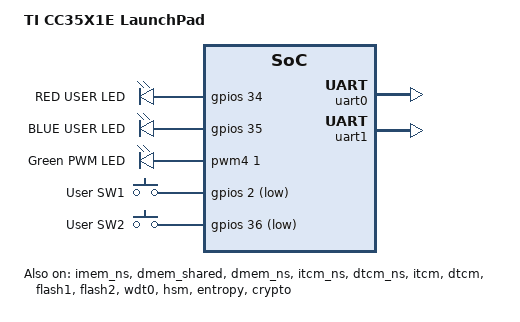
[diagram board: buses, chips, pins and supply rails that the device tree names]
/*
 * Copyright (c) 2025 Conclusive Engineering Sp. z o.o.
 *
 * SPDX-License-Identifier: Apache-2.0
 */

/dts-v1/;

#include <ti/cc35xxe.dtsi>
#include <zephyr/dt-bindings/adc/adc.h>
#include <zephyr/dt-bindings/gpio/gpio.h>
#include <zephyr/dt-bindings/dma/ti-cc35xx-dma.h>
#include <zephyr/dt-bindings/input/input-event-codes.h>
#include <zephyr/dt-bindings/i2s/ti-cc35xx-i2s.h>
#include "boosterpack_connector.dtsi"
#include "lp_em_cc35x1-pinctrl.dtsi"
#include <zephyr/dt-bindings/pwm/pwm.h>

/ {
	model = "TI CC35X1E LaunchPad";
	compatible = "ti,launchpad-cc35x1e";

	chosen {
		zephyr,sram = &dmem_ns;
		zephyr,flash = &extflash;
		zephyr,itcm = &itcm_ns;
		zephyr,dtcm = &dtcm_ns;
		zephyr,code-partition = &dmem_ns;
		zephyr,console = &uart1;
		zephyr,shell-uart = &uart1;
		zephyr,rtc = &rtc;
		zephyr,entropy = &entropy;
	};

	leds {
		compatible = "gpio-leds";

		red_led: red_led {
			gpios = <&gpios 34 GPIO_ACTIVE_HIGH>;
			label = "RED USER LED";
		};

		blue_led: blue_led {
			gpios = <&gpios 35 GPIO_ACTIVE_HIGH>;
			label = "BLUE USER LED";
		};
	};

	pwmleds {
		compatible = "pwm-leds";

		green_pwm: pwm_led_0 {
			pwms = <&pwm4 1 1000 PWM_POLARITY_NORMAL>;
			label = "Green PWM LED";
		};
	};

	buttons {
		compatible = "gpio-keys";

		user_switch_1: user_sw_1 {
			gpios = <&gpios 2 GPIO_ACTIVE_LOW>;
			label = "User SW1";
			zephyr,code = <INPUT_KEY_0>;
		};

		user_switch_2: user_sw_2 {
			gpios = <&gpios 36 GPIO_ACTIVE_LOW>;
			label = "User SW2";
			zephyr,code = <INPUT_KEY_1>;
		};
	};

	aliases {
		led0 = &red_led;
		led1 = &blue_led;
		pwm-led0 = &green_pwm;
		ambient-temp0 = &tmp1075_temperature;
		sw0 = &user_switch_1;
		sw1 = &user_switch_2;
		adc0 = &adc0;
		dma0 = &dma;
		rtc = &rtc;
		sdhc0 = &sdhc;
	};
};

&imem_ns {
	status = "okay";
};

&dmem_shared {
	status = "okay";
};

&dmem_ns {
	status = "okay";
};

&itcm_ns {
	status = "okay";
};

&dtcm_ns {
	status = "okay";
};

&itcm {
	status = "okay";
};

&dtcm {
	status = "okay";
};

&dma {
	status = "okay";
};

&spi0 {
	status = "disabled";
	pinctrl-0 = <&spi0_master>;
	pinctrl-names = "default";
	cs-gpios = <&gpios 26 GPIO_ACTIVE_LOW>;
	dmas = <&dma 4 CC35XX_DMA_SET_CONFIG(CC35xx_DMA_PERIPH_SPI_0)>,
	       <&dma 5 CC35XX_DMA_SET_CONFIG(CC35xx_DMA_PERIPH_SPI_0)>;
	dma-names = "tx", "rx";
};

&spi1 {
	status = "disabled";
	pinctrl-0 = <&spi1_slave>;
	pinctrl-names = "default";
	dmas = <&dma 8 CC35XX_DMA_SET_CONFIG(CC35xx_DMA_PERIPH_SPI_1)>,
	       <&dma 9 CC35XX_DMA_SET_CONFIG(CC35xx_DMA_PERIPH_SPI_1)>;
	dma-names = "tx", "rx";
};

&flash0 {
	status = "okay";

	partitions {
		compatible = "fixed-partitions";
		#address-cells = <1>;
		#size-cells = <1>;

		vendor_image_partition: partition@0 {
			label = "vendor-image";
			reg = <0x0 0x2fb000>;
		};
	};
};

&flash1 {
	status = "okay";

	partitions {
		compatible = "fixed-partitions";
		#address-cells = <1>;
		#size-cells = <1>;

		wifi_fw_slot1_partition: partition@68000 {
			label = "wifi-fw-1";
			reg = <0x68000 0x72000>;
		};

		wifi_fw_slot2_partition: partition@da000 {
			label = "wifi-fw-2";
			reg = <0xda000 0x2b000>;
		};
	};
};

&flash2 {
	status = "okay";

	partitions {
		compatible = "fixed-partitions";
		#address-cells = <1>;
		#size-cells = <1>;

		/* WiFi/BLE NVS: profiles, BLE security, connection policy */
		/* 8 sectors = 32 KB with wear-leveling */
		wifi_nvs_partition: partition@0 {
			label = "wifi-nvs";
			reg = <0x0 0x8000>;
		};

		storage_partition: partition@8000 {
			label = "storage";
			reg = <0x8000 0x23000>;
		};
	};
};

&i2c1 {
	status = "disabled";
	pinctrl-0 = <&i2c1_default>;
	pinctrl-names = "default";

	tmp1075_temperature: tmp1075@48 {
		compatible = "lm75";
		friendly-name = "texas_temperature_tmp1075";
		reg = <0x48>;
	};

	bma4xx_accelerometer: bma4xx@18 {
		compatible = "bosch,bma4xx";
		reg = <0x18>;
	};
};

&adc0 {
	status = "disabled";
	pinctrl-0 = <&adc0_default>;
	pinctrl-names = "default";
	dmas = <&dma 6 CC35XX_DMA_SET_CONFIG(CC35xx_DMA_PERIPH_ADC)>;
	vref-internal-mv = <1400>;

	channel@4 {
		reg = <0x4>;
		zephyr,gain = "ADC_GAIN_1";
		zephyr,reference = "ADC_REF_INTERNAL";
		zephyr,acquisition-time = <ADC_ACQ_TIME_DEFAULT>;
		zephyr,resolution = <12>;
	};

	channel@5 {
		reg = <0x5>;
		zephyr,gain = "ADC_GAIN_1";
		zephyr,reference = "ADC_REF_INTERNAL";
		zephyr,acquisition-time = <ADC_ACQ_TIME_DEFAULT>;
		zephyr,resolution = <12>;
	};
};

&uart0 {
	status = "okay";
	pinctrl-0 = <&uart0_default>;
	pinctrl-names = "default";
	dmas = <&dma 0 CC35XX_DMA_SET_CONFIG(CC35xx_DMA_PERIPH_UARTLIN_0)>,
	       <&dma 1 CC35XX_DMA_SET_CONFIG(CC35xx_DMA_PERIPH_UARTLIN_0)>;
	dma-names = "rx", "tx";
};

&uart1 {
	status = "okay";
	pinctrl-0 = <&uart1_default>;
	pinctrl-names = "default";
	dmas = <&dma 2 CC35XX_DMA_SET_CONFIG(CC35xx_DMA_PERIPH_UARTLIN_1)>,
	       <&dma 3 CC35XX_DMA_SET_CONFIG(CC35xx_DMA_PERIPH_UARTLIN_1)>;
	dma-names = "rx", "tx";
};

&timer1 {
	clk-prescale = <0x1>;
	status = "disabled";
};

&pwm4 {
	pinctrl-0 = <&pwm4_default>;
	pinctrl-names = "default";
	status = "disabled";
};

&wdt0 {
	status = "okay";
};

&hsm {
	status = "okay";
};

&entropy {
	status = "okay";
};

&crypto {
	status = "okay";
};

&i2s0 {
	status = "disabled";
	pinctrl-0 = <&i2s_default>;
	pinctrl-names = "default";
	clock-source = <TI_CC35XX_I2S_CLK_SRC_SOC_PLL_CLK>;
	pin-dir-sd0 = <TI_CC35XX_I2S_PIN_DIR_OUTPUT>;
	pin-dir-sd1 = <TI_CC35XX_I2S_PIN_DIR_INPUT>;
};

&can0 {
	status = "disabled";
	pinctrl-0 = <&can_default>;
	pinctrl-names = "default";
};

&sdhc {
	status = "disabled";
	pinctrl-0 = <&sdhc_mmc_default>;
	pinctrl-names = "default";
	max-bus-freq = <DT_FREQ_M(40)>;
	power-delay-ms = <500>;
	card-always-present;

	sdmmc {
		compatible = "zephyr,sdmmc-disk";
		disk-name = "SD";
	};
};
